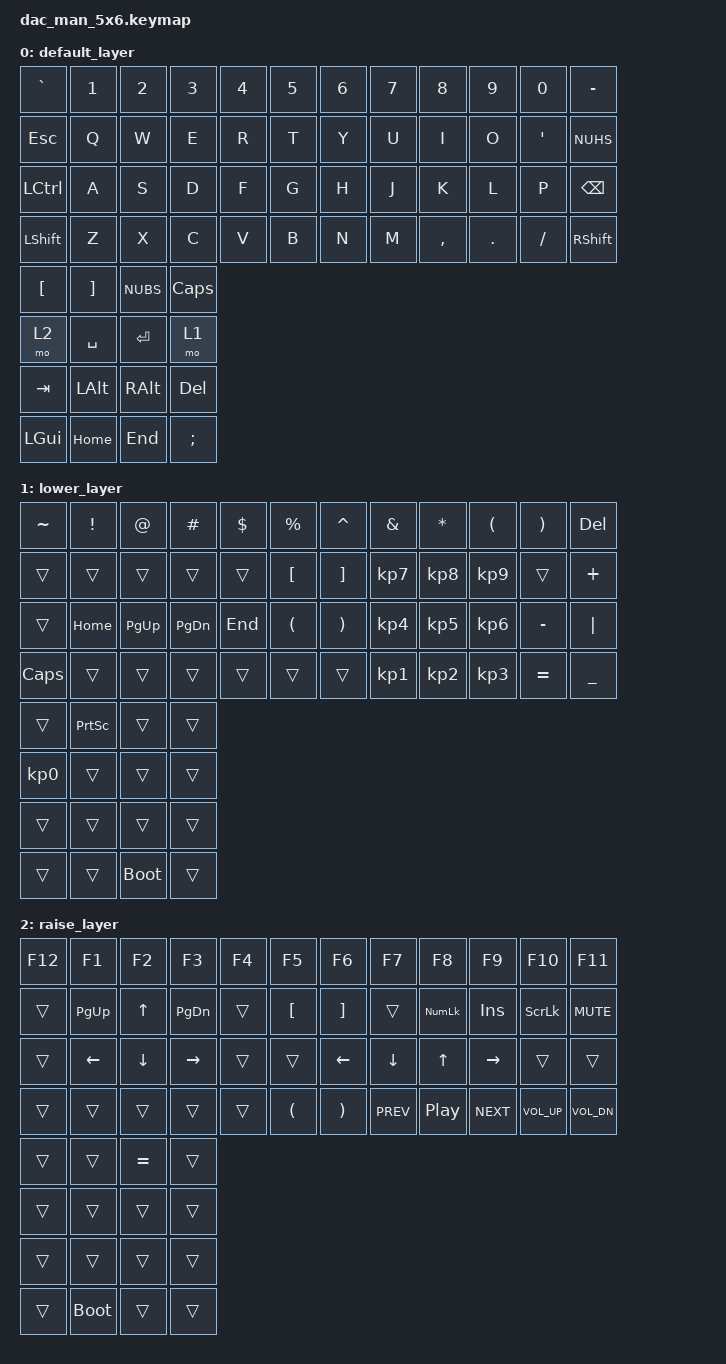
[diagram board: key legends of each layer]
#include <behaviors.dtsi>
#include <dt-bindings/zmk/keys.h>

/ {
    keymap {
        compatible = "zmk,keymap";

        default_layer {
            bindings = <
&kp GRAVE  &kp N1  &kp N2  &kp N3  &kp N4  &kp N5    &kp N6  &kp N7  &kp N8  &kp N9  &kp N0  &kp MINUS
&kp ESC    &kp Q   &kp W   &kp E   &kp R   &kp T     &kp Y   &kp U   &kp I   &kp O   &kp SQT &kp NUHS
&kp LCTRL  &kp A   &kp S   &kp D   &kp F   &kp G     &kp H   &kp J   &kp K   &kp L   &kp P   &kp BSPC
&kp LSHFT  &kp Z   &kp X   &kp C   &kp V   &kp B     &kp N   &kp M   &kp COMMA &kp DOT &kp SLASH &kp RSHFT
&kp LBKT  &kp RBKT  &kp NUBS  &kp CLCK
&mo 2  &kp SPACE  &kp ENTER  &mo 1
&kp TAB  &kp LALT  &kp RALT  &kp DEL
&kp LGUI  &kp HOME  &kp END  &kp SEMI
            >;
        };

        lower_layer {
            bindings = <
&kp TILDE  &kp EXCL  &kp AT  &kp HASH  &kp DLLR  &kp PRCNT    &kp CARET  &kp AMPS  &kp ASTRK  &kp LPAR  &kp RPAR  &kp DEL
&trans  &trans  &trans  &trans  &trans  &kp LBKT               &kp RBKT  &kp KP_N7  &kp KP_N8  &kp KP_N9  &trans  &kp PLUS
&trans  &kp HOME  &kp PG_UP  &kp PG_DN  &kp END  &kp LPAR      &kp RPAR  &kp KP_N4  &kp KP_N5  &kp KP_N6  &kp MINUS  &kp PIPE
&kp CLCK  &trans  &trans  &trans  &trans  &trans               &trans  &kp KP_N1  &kp KP_N2  &kp KP_N3  &kp EQUAL  &kp UNDER
&trans  &kp PSCRN  &trans  &trans
&kp KP_N0  &trans  &trans  &trans
&trans  &trans  &trans  &trans
&trans  &trans  &bootloader  &trans
            >;
        };

        raise_layer {
            bindings = <
&kp F12  &kp F1  &kp F2  &kp F3  &kp F4  &kp F5       &kp F6  &kp F7  &kp F8  &kp F9  &kp F10  &kp F11
&trans  &kp PG_UP  &kp UP  &kp PG_DN  &trans  &kp LBKT &kp RBKT  &trans  &kp KP_NUM  &kp INS  &kp SCROLLLOCK  &kp C_MUTE
&trans  &kp LEFT  &kp DOWN  &kp RIGHT  &trans  &trans  &kp LEFT  &kp DOWN  &kp UP  &kp RIGHT  &trans  &trans
&trans  &trans  &trans  &trans  &trans  &kp LPAR      &kp RPAR  &kp C_PREV  &kp C_PP  &kp C_NEXT  &kp C_VOL_UP  &kp C_VOL_DN
&trans  &trans  &kp EQUAL  &trans
&trans  &trans  &trans  &trans
&trans  &trans  &trans  &trans
&trans  &bootloader  &trans  &trans
            >;
        };
    };
};
